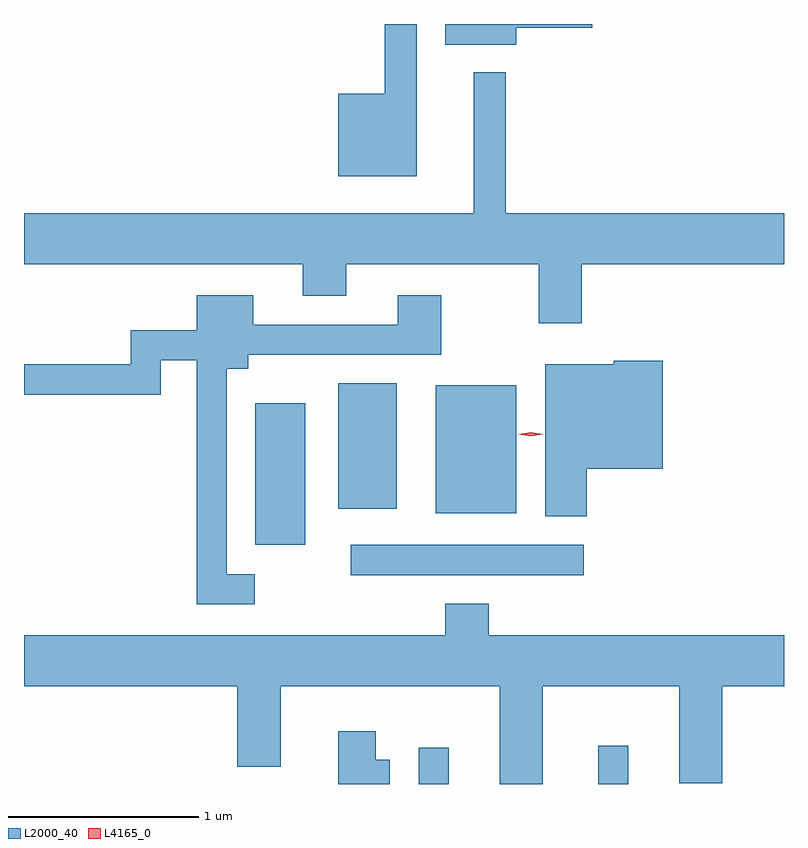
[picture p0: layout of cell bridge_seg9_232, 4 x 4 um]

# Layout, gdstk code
import gdstk
lib = gdstk.Library(unit=1e-6, precision=1e-09)
def R(c, l, rs):  # rectangles x0, y0, x1, y1
    for r in rs: c.add(gdstk.rectangle(r[:2], r[2:], *l))
def P(c, l, *ps):  # polygons
    for p in ps: c.add(gdstk.Polygon(p, *l))
L2000_40 = (2000, 40)
L4165_0 = (4165, 0)

bridge_seg9_232 = lib.new_cell('bridge_seg9_232')
R(bridge_seg9_232, L2000_40, [(1407.121,1951.341,1407.279,1951.533), (1408.066,1951.341,1408.224,1951.543), (1406.763,1952.441,1407.988,1952.599), (1406.261,1952.601,1406.524,1953.344), (1407.211,1952.766,1407.634,1953.439), (1406.696,1952.791,1407.004,1953.449)])
P(bridge_seg9_232, L2000_40, [(1407.634,1955.321),(1408.034,1955.321),(1408.034,1955.341),(1407.261,1955.341),(1407.261,1955.231),(1407.634,1955.231)],
  [(1407.109,1955.341),(1406.941,1955.341),(1406.941,1954.974),(1406.696,1954.974),(1406.696,1954.541),(1407.109,1954.541)],
  [(1407.979,1954.076),(1409.043,1954.076),(1409.043,1954.344),(1407.579,1954.344),(1407.579,1955.088),(1407.411,1955.088),(1407.411,1954.344),(1405.043,1954.344),(1405.043,1954.076),(1406.511,1954.076),(1406.511,1953.911),(1406.739,1953.911),(1406.739,1954.076),(1407.751,1954.076),(1407.751,1953.766),(1407.979,1953.766)],
  [(1406.258,1952.444),(1406.109,1952.444),(1406.109,1953.526),(1406.224,1953.526),(1406.224,1953.601),(1407.239,1953.601),(1407.239,1953.914),(1407.011,1953.914),(1407.011,1953.759),(1406.249,1953.759),(1406.249,1953.914),(1405.951,1953.914),(1405.951,1953.729),(1405.606,1953.729),(1405.606,1953.549),(1405.043,1953.549),(1405.043,1953.391),(1405.764,1953.391),(1405.764,1953.571),(1405.951,1953.571),(1405.951,1952.286),(1406.258,1952.286)],
  [(1408.004,1953.001),(1408.404,1953.001),(1408.404,1953.569),(1408.146,1953.569),(1408.146,1953.549),(1407.786,1953.549),(1407.786,1952.751),(1408.004,1952.751)],
  [(1407.774,1951.856),(1408.491,1951.856),(1408.491,1951.346),(1408.719,1951.346),(1408.719,1951.856),(1409.043,1951.856),(1409.043,1952.124),(1407.489,1952.124),(1407.489,1952.289),(1407.261,1952.289),(1407.261,1952.124),(1405.043,1952.124),(1405.043,1951.856),(1406.166,1951.856),(1406.166,1951.431),(1406.394,1951.431),(1406.394,1951.856),(1407.546,1951.856),(1407.546,1951.341),(1407.774,1951.341)],
  [(1406.969,1951.469),(1406.894,1951.469),(1406.894,1951.619),(1406.696,1951.619),(1406.696,1951.341),(1406.969,1951.341)])
P(bridge_seg9_232, L4165_0, [(1407.71,1953.172),(1407.644,1953.181),(1407.644,1953.181),(1407.644,1953.182),(1407.71,1953.192),(1407.776,1953.183),(1407.776,1953.183),(1407.776,1953.182)])

lib.write_gds('bridge_seg9_232.gds')
